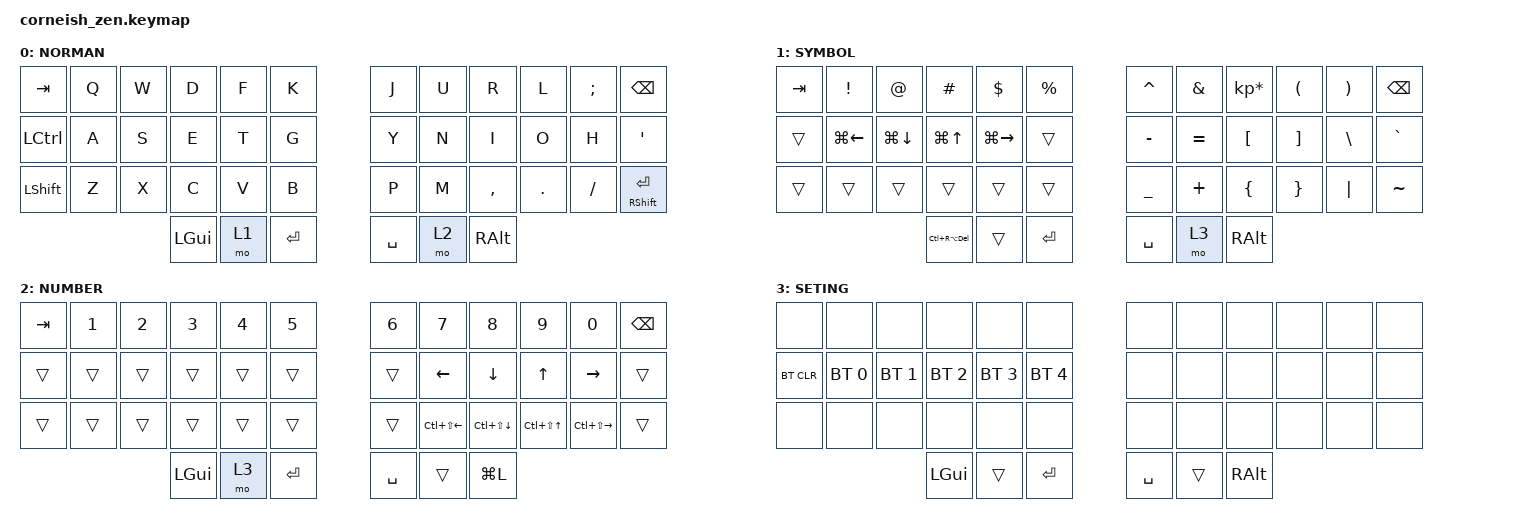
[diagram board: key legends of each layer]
/*
*
* Copyright (c) 2021 Darryl deHaan
* SPDX-License-Identifier: MIT
*
*/

#include <behaviors.dtsi>
#include <dt-bindings/zmk/keys.h>
#include <dt-bindings/zmk/bt.h>

#define ___ &none
#define ^^^ &trans

/ {
       behaviors {
        hm: homerow_mods {
            compatible = "zmk,behavior-hold-tap";
            label = "HOMEROW_MODS";
            #binding-cells = <2>;
            tapping-term-ms = <150>;
            quick-tap-ms = <0>;
            flavor = "tap-preferred";
            bindings = <&kp>, <&kp>;
        };
    };

        keymap {
                compatible = "zmk,keymap";

                default_layer { //layer 0
                        label = "NORMAN";
                        bindings = <
//╭─────────────┬─────────────┬─────────────┬─────────────┬─────────────┬─────────────╮ ╭─────────────┬─────────────┬─────────────┬─────────────┬─────────────┬─────────────╮
   &kp TAB       &kp Q         &kp W         &kp D         &kp F         &kp K           &kp J         &kp U         &kp R         &kp L         &kp SEMI      &kp BSPC
//├─────────────┼─────────────┼─────────────┼─────────────┼─────────────┼─────────────┤ ├─────────────┼─────────────┼─────────────┼─────────────┼─────────────┼─────────────┤
   &kp LCTRL     &kp A         &kp S         &kp E         &kp T         &kp G           &kp Y         &kp N         &kp I         &kp O         &kp H         &kp SQT
//├─────────────┼─────────────┼─────────────┼─────────────┼─────────────┼─────────────┤ ├─────────────┼─────────────┼─────────────┼─────────────┼─────────────┼─────────────┤
   &kp LSHFT     &kp Z         &kp X         &kp C         &kp V         &kp B           &kp P         &kp M         &kp COMMA     &kp DOT       &kp FSLH      &hm RSHFT RET
//╰─────────────┴─────────────┴─────────────┴─────────────┼─────────────┼─────────────┤ ├─────────────┼─────────────┼─────────────┴─────────────┴─────────────┴─────────────╯
                                             &kp LGUI      &mo 1         &kp RET         &kp SPACE     &mo 2         &kp RALT
//                                          ╰─────────────┴─────────────┴─────────────╯ ╰─────────────┴─────────────┴─────────────╯
                        >;
                };
                lower_layer { //layer 1
                        label = "SYMBOL";
                        bindings = <
//╭─────────────┬─────────────┬─────────────┬─────────────┬─────────────┬─────────────╮ ╭─────────────┬─────────────┬─────────────┬─────────────┬─────────────┬─────────────╮
   &kp  TAB      &kp EXCL      &kp AT        &kp HASH      &kp DLLR      &kp PRCNT       &kp CARET     &kp AMPS      &kp KP_MULTIPLY &kp LPAR    &kp RPAR      &kp BSPC
//├─────────────┼─────────────┼─────────────┼─────────────┼─────────────┼─────────────┤ ├─────────────┼─────────────┼─────────────┼─────────────┼─────────────┼─────────────┤
   &trans        &kp LG(LEFT)  &kp LG(DOWN)  &kp LG(UP)    &kp LG(RIGHT) &trans          &kp MINUS     &kp EQUAL     &kp LBKT      &kp RBKT      &kp BSLH      &kp GRAVE
//├─────────────┼─────────────┼─────────────┼─────────────┼─────────────┼─────────────┤ ├─────────────┼─────────────┼─────────────┼─────────────┼─────────────┼─────────────┤
   &trans        &trans        &trans        &trans        &trans        &trans          &kp UNDER     &kp PLUS      &kp LBRC      &kp RBRC      &kp PIPE      &kp TILDE
//╰─────────────┴─────────────┴─────────────┴─────────────┼─────────────┼─────────────┤ ├─────────────┼─────────────┼─────────────┴─────────────┴─────────────┴─────────────╯
                          	               &kp LC(RA(DEL)) &trans        &kp RET         &kp SPACE     &mo 3         &kp RALT
//                                          ╰─────────────┴─────────────┴─────────────╯ ╰─────────────┴─────────────┴─────────────╯
                        >;
                };
                raise_layer { //layer 2
                        label = "NUMBER";
                        bindings = <
//╭─────────────┬─────────────┬─────────────┬─────────────┬─────────────┬─────────────╮ ╭─────────────┬─────────────┬─────────────┬─────────────┬─────────────┬─────────────╮
   &kp TAB       &kp N1        &kp N2        &kp N3        &kp N4        &kp N5          &kp N6        &kp N7        &kp N8        &kp N9        &kp N0        &kp BSPC
//├─────────────┼─────────────┼─────────────┼─────────────┼─────────────┼─────────────┤ ├─────────────┼─────────────┼─────────────┼─────────────┼─────────────┼─────────────┤
   &trans        &trans        &trans        &trans        &trans        &trans          &trans        &kp LEFT      &kp DOWN      &kp UP        &kp RIGHT     &trans
//├─────────────┼─────────────┼─────────────┼─────────────┼─────────────┼─────────────┤ ├─────────────┼─────────────┼─────────────┼─────────────┼─────────────┼─────────────┤
   &trans        &trans        &trans        &trans        &trans        &trans          &trans        &kp LC(LS(LEFT)) &kp LC(LS(DOWN)) &kp LC(LS(UP)) &kp LC(LS(RIGHT)) &trans
//╰─────────────┴─────────────┴─────────────┴─────────────┼─────────────┼─────────────┤ ├─────────────┼─────────────┼─────────────┴─────────────┴─────────────┴─────────────╯
                    	                        &kp LGUI      &mo 3         &kp RET         &kp SPACE     &trans        &kp LG(L)       
//                                          ╰─────────────┴─────────────┴─────────────╯ ╰─────────────┴─────────────┴─────────────╯
                        >;
                };
                sett_layer { //layer 3
                        label = "SETING";
                        bindings = <
//╭─────────────┬─────────────┬─────────────┬─────────────┬─────────────┬─────────────╮ ╭─────────────┬─────────────┬─────────────┬─────────────┬─────────────┬─────────────╮
   ___           ___           ___           ___           ___           ___             ___           ___           ___           ___           ___           ___               
//├─────────────┼─────────────┼─────────────┼─────────────┼─────────────┼─────────────┤ ├─────────────┼─────────────┼─────────────┼─────────────┼─────────────┼─────────────┤
   &bt BT_CLR    &bt BT_SEL 0  &bt BT_SEL 1  &bt BT_SEL 2  &bt BT_SEL 3  &bt BT_SEL 4    ___           ___           ___           ___           ___           ___           
//├─────────────┼─────────────┼─────────────┼─────────────┼─────────────┼─────────────┤ ├─────────────┼─────────────┼─────────────┼─────────────┼─────────────┼─────────────┤
   ___           ___           ___           ___           ___           ___             ___           ___           ___           ___           ___           ___               
//╰─────────────┴─────────────┴─────────────┴─────────────┼─────────────┼─────────────┤ ├─────────────┼─────────────┼─────────────┴─────────────┴─────────────┴─────────────╯
                          	                 &kp LGUI      &trans        &kp RET         &kp SPACE     &trans        &kp RALT
//                                          ╰─────────────┴─────────────┴─────────────╯ ╰─────────────┴─────────────┴─────────────╯
                       >;
                };
        };
};
